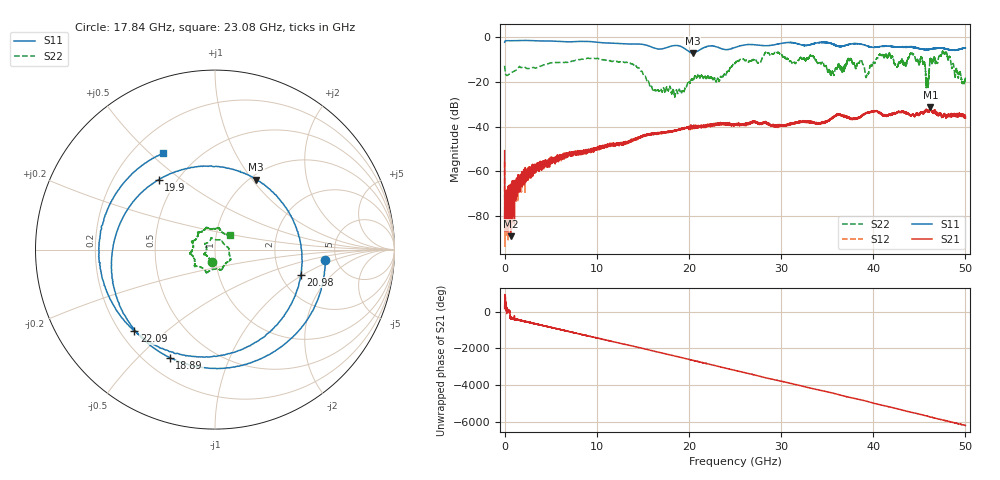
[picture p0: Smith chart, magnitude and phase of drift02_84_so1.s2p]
!Created with skrf (http://scikit-rf.org).
# Hz S RI R 50.0
!freq ReS11 ImS11 ReS21 ImS21 ReS12 ImS12 ReS22 ImS22
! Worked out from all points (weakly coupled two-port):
!   10001 points, 300 kHz to 50 GHz, reference 50 ohm
!   highest |S21| = -31.28 dB at 46.21 GHz (marker M1); lowest = -89.1 dB at 650.3 MHz (marker M2)
!   lowest |S11| = -6.9 dB at 20.4 GHz (marker M3), VSWR 2.65, Z = 53.4 + j52.2 ohm
!   |S11| at or under -10 dB: nowhere
!   |S22| runs from -26.7 to -6.0 dB; largest |S21 - S12| = 0.0036
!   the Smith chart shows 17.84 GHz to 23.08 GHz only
!   S11 on the Smith chart (normalised r, x): 17.84 GHz: 4.07, -0.77; 18.89 GHz: 0.30, -0.62; 19.9 GHz: 0.40, +0.41; 20.98 GHz: 2.58, -0.96; 22.09 GHz: 0.26, -0.39; 23.08 GHz: 0.32, +0.55
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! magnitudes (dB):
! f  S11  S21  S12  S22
! 300 kHz  -2.1  -50.7  -55.7  -12.7
! 255.3 MHz  -1.4  -80.9  -74.8  -17.0
! 650.3 MHz  -1.5  -89.1  -70.6  -16.0
! 3.035 GHz  -1.4  -60.8  -59.9  -13.5
! 8.335 GHz  -1.7  -50.8  -51.7  -9.7
! 13.71 GHz  -2.9  -45.9  -46.3  -11.7
! 16.67 GHz  -5.2  -43.2  -42.9  -23.8
! 17.84 GHz  -4.2  -42.4  -42.4  -23.0
! 18.89 GHz  -3.7  -41.2  -41.4  -23.9
! 19.9 GHz  -6.0  -40.3  -40.3  -20.0
! 20.4 GHz  -6.9  -40.7  -40.3  -19.1
! 20.98 GHz  -6.1  -39.9  -39.9  -16.7
! 22.09 GHz  -3.9  -39.0  -39.8  -17.3
! 23.08 GHz  -4.3  -39.2  -38.7  -18.8
! 25 GHz  -4.5  -39.4  -39.0  -11.5
! 33.34 GHz  -3.0  -37.9  -38.0  -8.4
! 39.33 GHz  -3.8  -33.6  -33.7  -16.7
! 41.67 GHz  -3.9  -34.6  -34.7  -7.6
! 45.86 GHz  -5.4  -32.8  -32.7  -18.5
! 46.21 GHz  -5.3  -31.3  -31.6  -9.3
! 47.75 GHz  -5.0  -34.5  -34.6  -7.1
! 50 GHz  -4.7  -36.1  -36.0  -18.5
